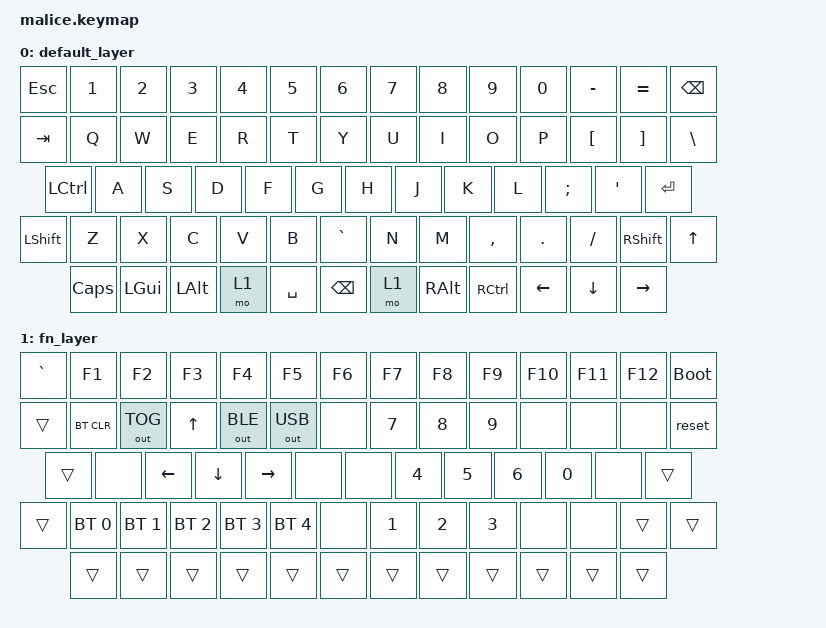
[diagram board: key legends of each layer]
#include <behaviors.dtsi>
#include <dt-bindings/zmk/keys.h>
#include <dt-bindings/zmk/bt.h>
#include <dt-bindings/zmk/outputs.h>

/ {
	keymap0: keymap {
		compatible = "zmk,keymap";

		default_layer {
// ------------------------------------------------------------------------------------------
// | ESC |  1  |  2  |  3  |  4  |  5  |  6  |  7  |  8  |  9  |  0  |  -  |  =  |   BKSP   |
// | TAB  |  Q  |  W  |  E  |  R  |  T  |  Y  |  U  |  I  |  O  |  P  |  [  |  ]  |    \    |
// | CAPS  |  A  |  S  |  D  |  F  |  G  |  H  |  J  |  K  |  L  |  ;  |  '  |     ENTER    |
// |  SHIFT  |  Z  |  X  |  C  |  V  |  B  |  N  |  M  |  ,  |  .  |  /  |      SHIFT       |
// |  CTL  |  WIN  |  ALT  |            SPACE               | ALT | MO(1) |  WIN  | CTRL    |
// ------------------------------------------------------------------------------------------
			bindings = <
	&kp ESC &kp N1 &kp N2 &kp N3 &kp N4 &kp N5 &kp N6 &kp N7 &kp   N8  &kp  N9 &kp  N0  &kp MINUS &kp EQUAL &kp BSPC
	&kp TAB  &kp Q  &kp W  &kp E  &kp R  &kp T  &kp Y  &kp U  &kp   I   &kp  O  &kp   P  &kp LBKT &kp RBKT  &kp BSLH
	&kp LCTRL &kp A  &kp S  &kp D  &kp F  &kp G  &kp H  &kp J  &kp   K   &kp  L  &kp SEMI &kp SQT           &kp RET
	&kp LSHFT &kp Z  &kp X  &kp C  &kp V  &kp B  &kp GRAVE &kp N  &kp M  &kp COMMA &kp DOT &kp FSLH &kp RSHFT &kp UP
	&kp CLCK &kp LGUI &kp LALT  &mo 1 &kp SPACE       &kp BSPC &mo  1  &kp RALT  &kp RCTRL &kp LEFT &kp DOWN &kp RIGHT
			>;
		};
		

		fn_layer {
			bindings = <
&kp GRAVE  &kp F1     &kp F2     &kp F3     &kp F4     &kp F5     &kp F6     &kp F7     &kp F8     &kp F9     &kp F10    &kp F11    &kp F12    &bootloader
&trans         &bt BT_CLR &out OUT_TOG  &kp UP   &out OUT_BLE &out OUT_USB     &none   &kp N7  &kp N8   &kp N9     &none      &none      &none      &reset
&trans         &none  &kp LEFT   &kp DOWN  &kp RIGHT   &none                    &none  &kp N4  &kp N5   &kp N6   &kp  N0       &none           &trans
&trans         &bt BT_SEL 0 &bt BT_SEL 1 &bt BT_SEL 2 &bt BT_SEL 3 &bt BT_SEL 4  &none &kp N1  &kp N2   &kp N3   &none      &none      &trans  &trans
&trans       &trans       &trans       &trans     &trans                     &trans  &trans   &trans           &trans     &trans     &trans     &trans
			>;
		};
	};
};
